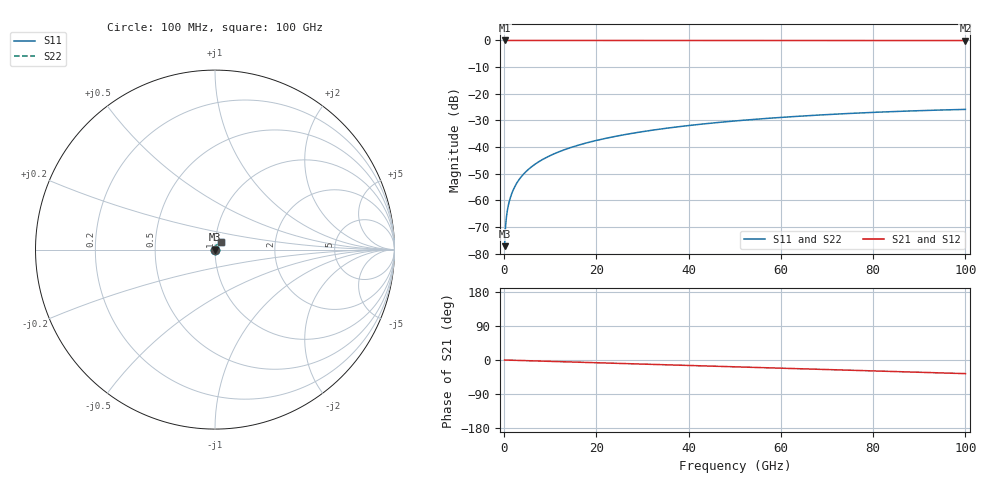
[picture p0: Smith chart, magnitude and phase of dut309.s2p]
! Touchstone file exported from HFSS 2026.1.0
!  File:  C:/ffzhzh/LocalFiles/Ansys_Project_Files/temp_train_TSV_309_1783509302_9504.aedt
!  Generated:  07:16:13 PM Jul  8, 2026
!  Design:  TSV
!  Project:  temp_train_TSV_309_1783509302_9504
! Variables:
!  h_bsmrdl = 2um
!  h_ox = 20um
!  h_rdl = 5um
!  h_sub = 68.22um
!  h_tmrdl = 5um
!  h_tsv = 68.22um
!  h_via = 3um
!  l_bsmrdl = 300um
!  l_sub = 422.72um
!  l_tmrdl = 200um
!  m_sub = 200um
!  pitch = 50.92um
!  r_tsv = 11.36um
!  s_tmrdl = 10um
!  w_bsmrdl = 18um
!  w_sub = 500um
!  w_tmrdl = 12um
!  x_tsv_center1 = 206um
!  x_tsv_center2 = 524um
!  x_tsv_center3 = 736um
!  x_tsv_center4 = 1054um
!  x_tsv_center5 = 1266um
!  x_tsv_center6 = 1584um
# GHz S MA R 50.000000
! Terminal data exported
! Port[1] = TSV1_1_T1
! Port[2] = TSV1_1_T2
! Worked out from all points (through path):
!   1000 points, 100 MHz to 100 GHz, reference 50 ohm
!   highest |S21| = 0.00 dB at 100 MHz (marker M1); lowest = 0.0 dB at 100 GHz (marker M2)
!   group delay of S21, straight-line fit = 998 fs
!   lowest |S11| = -77.2 dB at 100 MHz (marker M3), VSWR 1.00, Z = 50 + j0.0102 ohm
!   |S11| at or under -10 dB: start of sweep to end of sweep
!   |S22| runs from -77.2 to -25.9 dB; largest |S21 - S12| = 2.1e-15
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0.1  0.000138 47.8  0.9999 -0.0  0.9999 -0.0  0.000138 47.8
! Gamma 0 0 0 0
! Port Impedance 50 0 50 0
0.4  0.0004067 70.0  0.9999 -0.2  0.9999 -0.2  0.0004067 70.0
0.7  0.0006493 72.8  0.9998 -0.3  0.9998 -0.3  0.0006493 72.8
0.8  0.0007251 73.5  0.9998 -0.3  0.9998 -0.3  0.0007251 73.5
1  0.000873 74.5  0.9998 -0.4  0.9998 -0.4  0.000873 74.5
1.3  0.00109 75.9  0.9997 -0.5  0.9997 -0.5  0.00109 75.9
1.8  0.001448 77.4  0.9997 -0.7  0.9997 -0.7  0.001448 77.4
2.4  0.00187 78.4  0.9997 -0.9  0.9997 -0.9  0.00187 78.4
3.1  0.002354 79.2  0.9996 -1.1  0.9996 -1.1  0.002354 79.2
3.9  0.002898 79.7  0.9995 -1.4  0.9995 -1.4  0.002898 79.7
4.9  0.003569 80.2  0.9995 -1.8  0.9995 -1.8  0.003569 80.2
6.1  0.004367 80.5  0.9994 -2.2  0.9994 -2.2  0.004367 80.5
8.9  0.006208 80.6  0.9993 -3.2  0.9993 -3.2  0.006208 80.6
12.4  0.008478 80.0  0.9992 -4.5  0.9992 -4.5  0.008478 80.0
16.8  0.01128 79.1  0.999 -6.0  0.999 -6.0  0.01128 79.1
24.2  0.01591 77.2  0.9987 -8.7  0.9987 -8.7  0.01591 77.3
33.4  0.02148 74.5  0.9984 -12.0  0.9984 -12.0  0.02148 74.5
41.2  0.02601 72.0  0.9982 -14.8  0.9982 -14.8  0.02601 72.0
50.1  0.03091 69.1  0.9979 -18.0  0.9979 -18.0  0.03091 69.1
66.7  0.03915 63.4  0.9973 -23.9  0.9973 -23.9  0.03914 63.5
83.4  0.04597 57.6  0.9968 -30.0  0.9968 -30.0  0.04597 57.7
100  0.05086 51.9  0.9962 -36.0  0.9962 -36.0  0.05085 51.9
